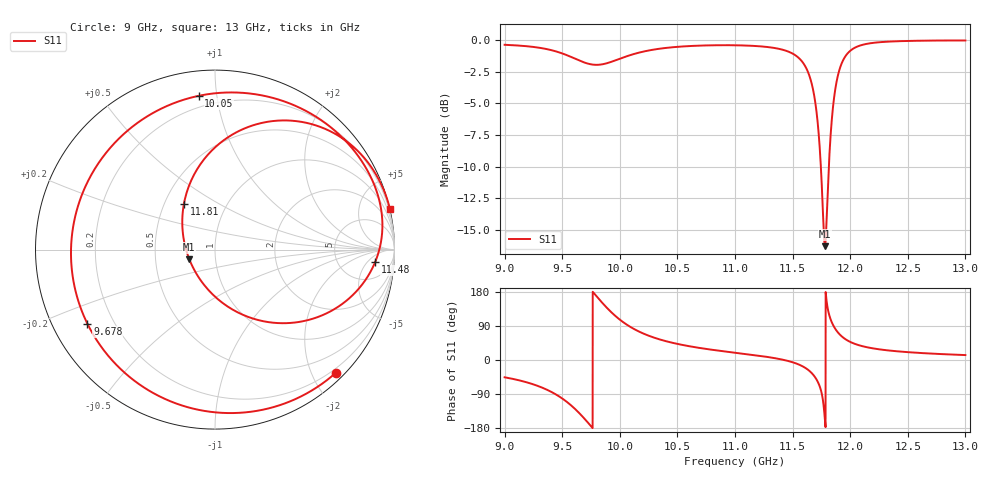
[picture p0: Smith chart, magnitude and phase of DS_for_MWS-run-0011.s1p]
! TOUCHSTONE file generated by CST DESIGN STUDIO
! Date and time: Tue Jan 28 13:43:24 2025
! Project name: C:\Work\MatlabApps\UnitCellOptimizationMatlab\CST\unitcell.cst
! Tree item: Tasks\Sweep1\SPara1\S-Parameters
! Header version: 2024
! Port assignment regex: !\s*Touchstone port\s*([0-9]+)\s*=\s*(CST MWS port|CST DES external port|CST DES block port)\s*(.+)\s* \(\"(.*)\"\)(\s*mode\s*([0-9]+))?.*
! Touchstone port assignment:
! Touchstone port 1 = CST DES external port 1 ("")
# GHz S MA R 50
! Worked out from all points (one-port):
!   4001 points, 9 GHz to 13 GHz, reference 50 ohm
!   lowest |S11| = -16.3 dB at 11.78 GHz (marker M1), VSWR 1.36, Z = 37.3 - j4.13 ohm
!   |S11| at or under -10 dB: 11.75 GHz to 11.81 GHz (69.12 MHz wide, 0.587 % of centre)
!   S11 on the Smith chart (normalised r, x): 9 GHz: 0.13, -2.37; 9.678 GHz: 0.10, -0.27; 10.05 GHz: 0.13, +0.89; 11.48 GHz: 12, -8; 11.81 GHz: 0.63, +0.35; 13 GHz: 0.00, +8.79
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9  0.9613 -45.6
9.275  0.9394 -67.0
9.5  0.8885 -101.5
9.591  0.8549 -123.5
9.678  0.8223 -149.8
9.748  0.8045 -173.9
9.816  0.801 161.8
9.909  0.8178 131.2
10  0.8463 106.5
10.047  0.8616 96.0
10.251  0.9126 64.1
10.5  0.9435 42.5
11  0.9571 19.2
11.484  0.8948 -4.5
11.5  0.8872 -5.9
11.617  0.7789 -22.1
11.7  0.555 -47.6
11.741  0.3421 -74.6
11.767  0.1897 -114.5
11.781  0.1528 -159.3
11.813  0.307 124.4
11.85  0.5407 93.1
11.887  0.7051 75.1
11.941  0.8395 58.7
12  0.9097 47.8
12.174  0.9749 32.0
12.5  0.9957 20.7
13  1 13.0
